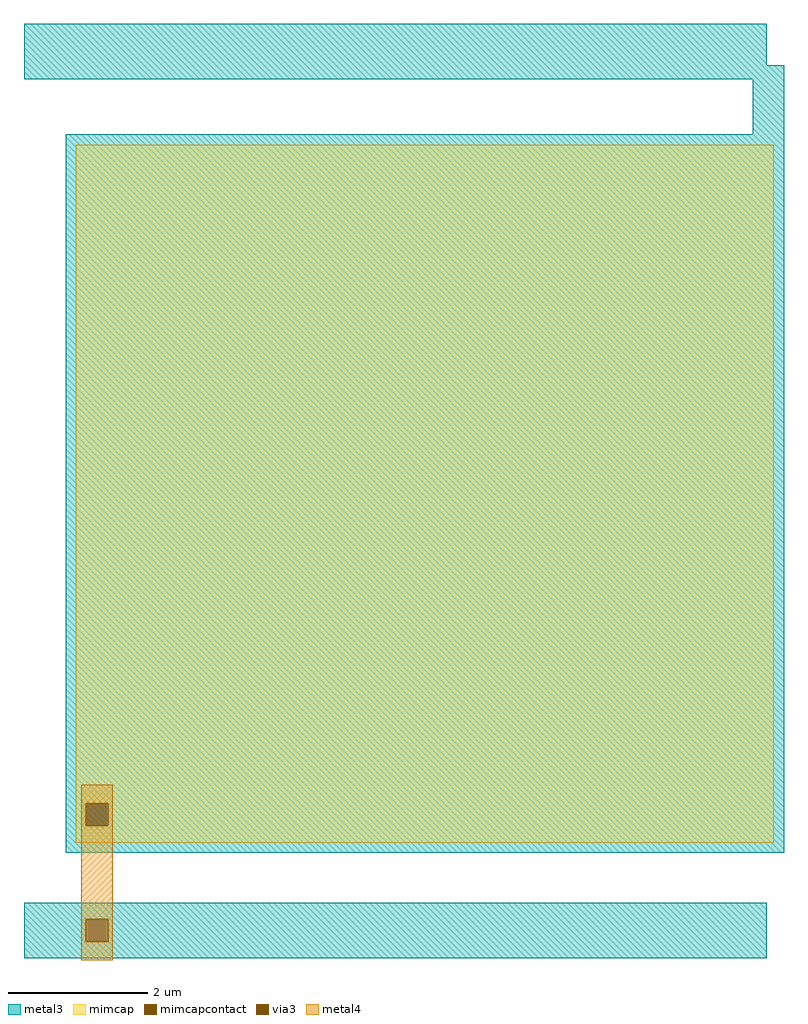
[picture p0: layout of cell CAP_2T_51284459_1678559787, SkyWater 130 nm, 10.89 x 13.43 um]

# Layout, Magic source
magic
tech sky130A
magscale 1 2
<< metal3 >>
rect 53 2732 2183 2852
rect 53 2692 2232 2732
rect 2142 2534 2232 2692
rect 172 474 2232 2534
rect 53 284 2183 332
rect 53 220 230 284
rect 294 220 2183 284
rect 53 172 2183 220
<< via3 >>
rect 230 220 294 284
<< mimcap >>
rect 202 616 2202 2504
rect 202 552 230 616
rect 294 552 2202 616
rect 202 504 2202 552
<< mimcapcontact >>
rect 230 552 294 616
<< metal4 >>
rect 217 616 307 670
rect 217 552 230 616
rect 294 552 307 616
rect 217 284 307 552
rect 217 220 230 284
rect 294 220 307 284
rect 217 166 307 220
<< end >>
